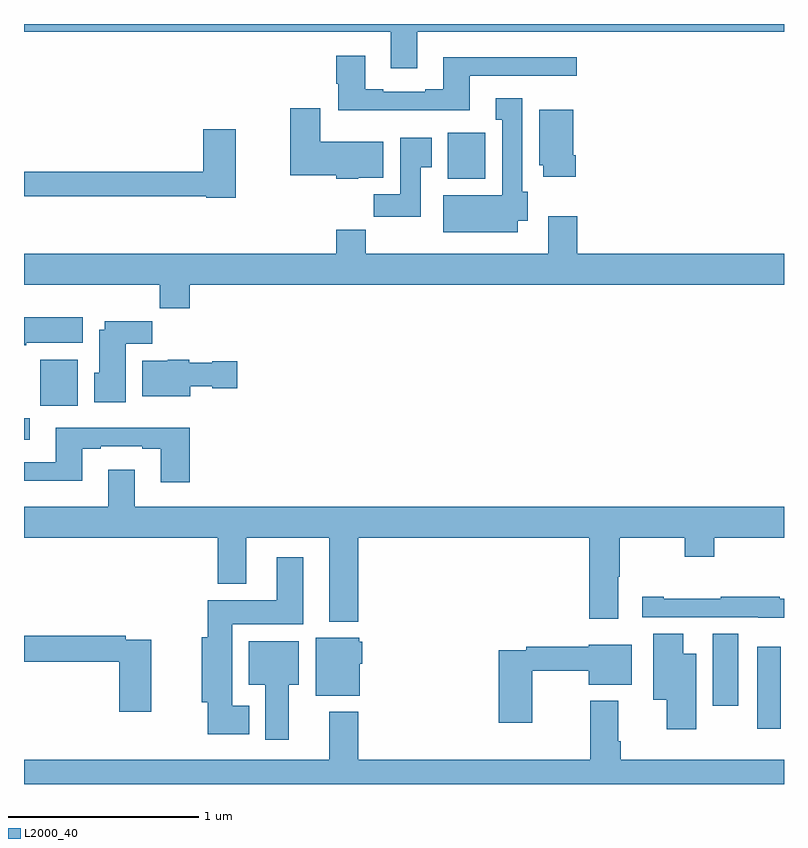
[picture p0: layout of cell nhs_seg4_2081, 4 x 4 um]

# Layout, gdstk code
import gdstk
lib = gdstk.Library(unit=1e-6, precision=1e-09)
def R(c, l, rs):  # rectangles x0, y0, x1, y1
    for r in rs: c.add(gdstk.rectangle(r[:2], r[2:], *l))
def P(c, l, *ps):  # polygons
    for p in ps: c.add(gdstk.Polygon(p, *l))
L2000_40 = (2000, 40)

nhs_seg4_2081 = lib.new_cell('nhs_seg4_2081')
R(nhs_seg4_2081, L2000_40, [(222.86,753.192,222.982,753.622), (222.626,753.312,222.76,753.692), (219,754.713,219.031,754.826), (219.086,754.892,219.283,755.134), (221.231,756.086,221.428,756.328)])
P(nhs_seg4_2081, L2000_40, [(221.071,756.86),(223,756.86),(223,756.9),(219,756.9),(219,756.86),(220.931,756.86),(220.931,756.666),(221.071,756.666)],
  [(221.347,756.627),(221.908,756.627),(221.908,756.724),(221.207,756.724),(221.207,756.556),(221.111,756.556),(221.111,756.543),(220.891,756.543),(220.891,756.556),(220.795,756.556),(220.795,756.733),(220.643,756.733),(220.643,756.585),(220.655,756.585),(220.655,756.446),(221.347,756.446)],
  [(221.599,755.864),(221.65,755.864),(221.65,756.018),(221.623,756.018),(221.623,756.508),(221.483,756.508),(221.483,756.395),(221.516,756.395),(221.516,755.998),(221.207,755.998),(221.207,755.804),(221.599,755.804)],
  [(220.758,756.092),(220.891,756.092),(220.891,756.28),(220.558,756.28),(220.558,756.457),(220.4,756.457),(220.4,756.104),(220.644,756.104),(220.644,756.086),(220.758,756.086)],
  [(221.903,756.208),(221.89,756.208),(221.89,756.448),(221.711,756.448),(221.711,756.156),(221.732,756.156),(221.732,756.096),(221.903,756.096)],
  [(220.114,756.346),(219.944,756.346),(219.944,756.122),(219,756.122),(219,755.994),(219.96,755.994),(219.96,755.986),(220.114,755.986)],
  [(221.089,756.145),(221.146,756.145),(221.146,756.301),(220.979,756.301),(220.979,756.004),(220.84,756.004),(220.84,755.886),(221.089,755.886)],
  [(219.872,755.528),(223,755.528),(223,755.692),(221.912,755.692),(221.912,755.887),(221.759,755.887),(221.759,755.692),(220.799,755.692),(220.799,755.816),(220.643,755.816),(220.643,755.692),(219,755.692),(219,755.528),(219.715,755.528),(219.715,755.404),(219.872,755.404)],
  [(219.012,755.222),(219.31,755.222),(219.31,755.356),(219,755.356),(219,755.209),(219.012,755.209)],
  [(219.535,755.216),(219.674,755.216),(219.674,755.335),(219.425,755.335),(219.425,755.29),(219.395,755.29),(219.395,755.064),(219.371,755.064),(219.371,754.91),(219.535,754.91)],
  [(219.874,754.994),(219.99,754.994),(219.99,754.982),(220.123,754.982),(220.123,755.124),(219.99,755.124),(219.99,755.116),(219.87,755.116),(219.87,755.134),(219.756,755.134),(219.756,755.128),(219.623,755.128),(219.623,754.94),(219.874,754.94)],
  [(219.872,754.774),(219.167,754.774),(219.167,754.593),(219,754.593),(219,754.496),(219.307,754.496),(219.307,754.665),(219.403,754.665),(219.403,754.677),(219.623,754.677),(219.623,754.665),(219.719,754.665),(219.719,754.488),(219.872,754.488)],
  [(220.76,754.196),(221.975,754.196),(221.975,753.771),(222.127,753.771),(222.127,753.992),(222.135,753.992),(222.135,754.196),(222.478,754.196),(222.478,754.097),(222.633,754.097),(222.633,754.196),(223,754.196),(223,754.36),(219.583,754.36),(219.583,754.555),(219.443,754.555),(219.443,754.36),(219,754.36),(219,754.196),(220.019,754.196),(220.019,753.953),(220.171,753.953),(220.171,754.196),(220.607,754.196),(220.607,753.755),(220.76,753.755)],
  [(220.186,753.313),(220.096,753.313),(220.096,753.74),(220.471,753.74),(220.471,754.093),(220.331,754.093),(220.331,753.868),(219.967,753.868),(219.967,753.673),(219.935,753.673),(219.935,753.329),(219.967,753.329),(219.967,753.161),(220.186,753.161)],
  [(223,753.876),(222.977,753.876),(222.977,753.886),(222.667,753.886),(222.667,753.876),(222.367,753.876),(222.367,753.886),(222.255,753.886),(222.255,753.777),(222.864,753.777),(222.864,753.776),(223,753.776)],
  [(222.538,753.586),(222.469,753.586),(222.469,753.692),(222.311,753.692),(222.311,753.344),(222.383,753.344),(222.383,753.189),(222.538,753.189)],
  [(219.67,753.66),(219.536,753.66),(219.536,753.68),(219,753.68),(219,753.544),(219.5,753.544),(219.5,753.279),(219.67,753.279)],
  [(220.768,753.534),(220.78,753.534),(220.78,753.648),(220.764,753.648),(220.764,753.67),(220.535,753.67),(220.535,753.365),(220.768,753.365)],
  [(220.393,753.422),(220.447,753.422),(220.447,753.652),(220.184,753.652),(220.184,753.422),(220.271,753.422),(220.271,753.132),(220.393,753.132)],
  [(221.676,753.495),(221.972,753.495),(221.972,753.422),(222.199,753.422),(222.199,753.634),(221.972,753.634),(221.972,753.623),(221.644,753.623),(221.644,753.603),(221.498,753.603),(221.498,753.222),(221.676,753.222)],
  [(219,752.9),(223,752.9),(223,753.028),(222.14,753.028),(222.14,753.124),(222.127,753.124),(222.127,753.337),(221.98,753.337),(221.98,753.028),(220.76,753.028),(220.76,753.28),(220.607,753.28),(220.607,753.028),(219,753.028)])

lib.write_gds('nhs_seg4_2081.gds')
